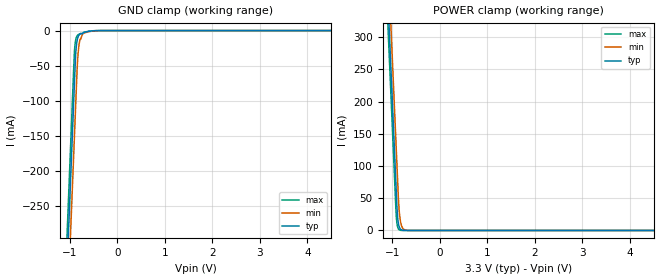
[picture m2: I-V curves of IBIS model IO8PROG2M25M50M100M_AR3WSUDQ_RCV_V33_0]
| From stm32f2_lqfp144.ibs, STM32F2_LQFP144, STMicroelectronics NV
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| *** New cell (Generated with 5.14beta1 (Sep 20 2010 13:23:23))
[Model]   IO8PROG2M25M50M100M_AR3WSUDQ_RCV_V33_0
Model_type Input
Polarity   Non-Inverting
Enable   Active-Low
| CAP_THRESHOLD on pad IOV33 is "CMOS" :
| Rising=10.0% of vddio   Falling=90.0% of vddio
| C_comp min and max val. don't necessarily correlate with the min and max pvt
| but are the smallest and greatest pad capacitance found.
| var   typ   min   max
C_comp   2.53650pF  2.40960pF  2.66950pF
Vinl = 810.0mV | Dummy value overriden by next lines
Vinh = 2.52V | Dummy value overriden by next lines
[Model Spec]
| TIME_THRESHOLD on pin ZIV33 is "CORE" :
| Rising=40.0% of vddio   Falling=60.0% of vddio
Vinl 1.25450V 1.03850V 1.36250V
Vinh 1.66150V 1.36950V 1.82450V
| variable   typ   min   max
[Temperature Range] 25.0 125.0 -40.0
| variable   typ   min   max
[Voltage Range] 3.3V 2.7V 3.6V
| variable   typ   min   max
[POWER Clamp Reference] 3.3V 2.7V 3.6V
| variable   typ   min   max
[GND Clamp Reference] 0V 0V 0V
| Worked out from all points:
|   GND clamp passes 1 mA (typ) near -0.59 V on its own axis
|   POWER clamp passes 1 mA (typ) near -0.81 V on its own axis
[POWER Clamp]
-3.3V     4.117A     4.183A     4.076A
-1.09V    360mA      425.6mA    319.3mA
-1.05V    292mA      357.6mA    251.3mA
-1.01V    224mA      289.6mA    183.3mA
-910mV    53.96mA    119.6mA    18.43mA
-900mV    36.96mA    102.6mA    11.2mA
-880mV    16.97mA    68.61mA    4.141mA
-860mV    7.791mA    38.56mA    1.53mA
-840mV    3.577mA    21.53mA    565.5uA
-780mV    346.2uA    3.745mA    28.55uA
-660mV    3.242uA    113.2uA    73.21nA
6.6V      0A         0A         0A
[GND Clamp]
-3.3V     -4.156A    -4.231A    -4.108A
-1.06V    -347.5mA   -423.2mA   -300.1mA
-940mV    -143.5mA   -219.2mA   -96.09mA
-900mV    -75.54mA   -151.2mA   -30.39mA
-880mV    -41.78mA   -117.2mA   -15.62mA
-870mV    -30.28mA   -100.2mA   -12.04mA
-840mV    -13.1mA    -50.87mA   -7.186mA
-810mV    -7.18mA    -24.07mA   -5.432mA
-780mV    -4.86mA    -12.37mA   -4.416mA
-700mV    -2.552mA   -3.603mA   -2.454mA
-350mV    -11.93uA   -60.06uA   -2.46uA
6.6V      10.25nA    1.32uA     122.8pA
